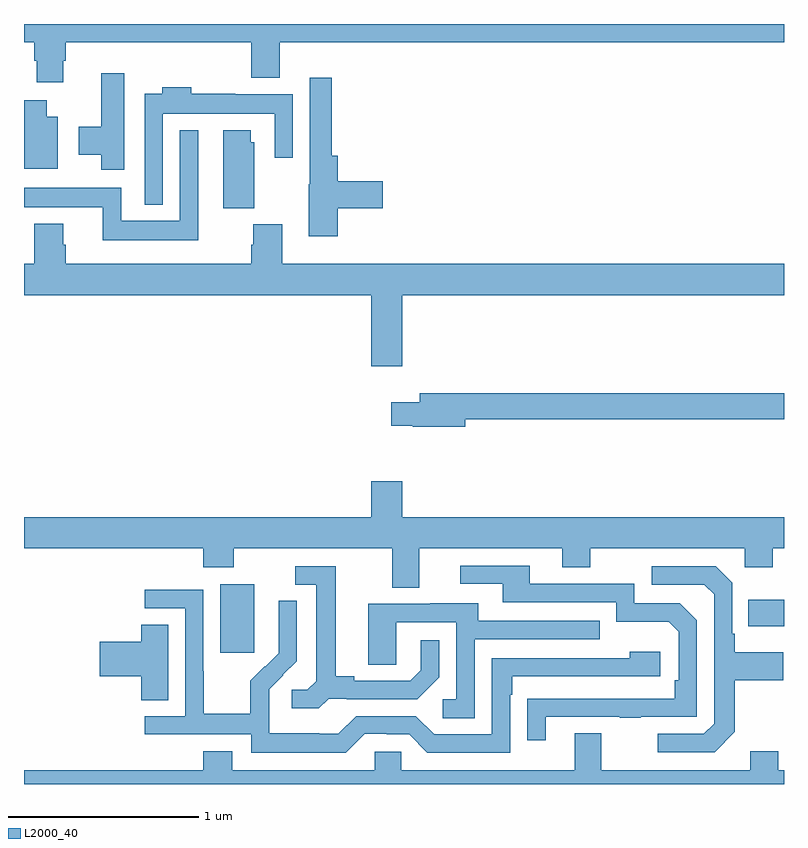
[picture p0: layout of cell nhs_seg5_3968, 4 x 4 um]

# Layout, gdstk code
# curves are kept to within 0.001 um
import gdstk
lib = gdstk.Library(unit=1e-6, precision=1e-09)
def R(c, l, rs):  # rectangles x0, y0, x1, y1
    for r in rs: c.add(gdstk.rectangle(r[:2], r[2:], *l))
def P(c, l, *ps):  # polygons
    for p in ps: c.add(gdstk.Polygon(p, *l))
L2000_40 = (2000, 40)

nhs_seg5_3968 = lib.new_cell('nhs_seg5_3968')
R(nhs_seg5_3968, L2000_40, [(344.033,909.489,344.212,909.85), (346.813,909.629,347,909.769)])
P(nhs_seg5_3968, L2000_40, [(343.207,912.606),(343.22,912.606),(343.22,912.704),(344.195,912.704),(344.195,912.515),(344.347,912.515),(344.347,912.704),(347,912.704),(347,912.799),(343,912.799),(343,912.704),(343.055,912.704),(343.055,912.606),(343.067,912.606),(343.067,912.492),(343.207,912.492)],
  [(343.528,912.541),(343.406,912.541),(343.406,912.258),(343.289,912.258),(343.289,912.11),(343.406,912.11),(343.406,912.033),(343.528,912.033)],
  [(344.651,911.83),(344.887,911.83),(344.887,911.972),(344.651,911.972),(344.651,912.106),(344.621,912.106),(344.621,912.517),(344.505,912.517),(344.505,911.955),(344.498,911.955),(344.498,911.682),(344.651,911.682)],
  [(343.731,912.326),(344.319,912.326),(344.319,912.096),(344.415,912.096),(344.415,912.43),(344.111,912.43),(344.111,912.433),(343.88,912.433),(343.88,912.466),(343.727,912.466),(343.727,912.433),(343.635,912.433),(343.635,911.849),(343.731,911.849)],
  [(343.177,912.31),(343.12,912.31),(343.12,912.397),(343,912.397),(343,912.038),(343.177,912.038)],
  [(344.212,912.177),(344.194,912.177),(344.194,912.241),(344.048,912.241),(344.048,911.83),(344.212,911.83)],
  [(343.918,912.241),(343.821,912.241),(343.821,911.764),(343.512,911.764),(343.512,911.938),(343,911.938),(343,911.834),(343.415,911.834),(343.415,911.66),(343.918,911.66)],
  [(344.992,911.372),(347,911.372),(347,911.536),(344.36,911.536),(344.36,911.745),(344.207,911.745),(344.207,911.636),(344.195,911.636),(344.195,911.536),(343.22,911.536),(343.22,911.637),(343.207,911.637),(343.207,911.749),(343.055,911.749),(343.055,911.536),(343,911.536),(343,911.372),(344.828,911.372),(344.828,910.998),(344.992,910.998)],
  [(345.322,910.72),(347,910.72),(347,910.856),(345.083,910.856),(345.083,910.807),(344.934,910.807),(344.934,910.685),(345.046,910.685),(345.046,910.678),(345.322,910.678)],
  [(345.079,910.04),(345.833,910.04),(345.833,909.941),(345.981,909.941),(345.981,910.04),(346.794,910.04),(346.794,909.941),(346.941,909.941),(346.941,910.04),(347,910.04),(347,910.204),(344.992,910.204),(344.992,910.393),(344.828,910.393),(344.828,910.204),(343,910.204),(343,910.04),(343.943,910.04),(343.943,909.941),(344.103,909.941),(344.103,910.04),(344.939,910.04),(344.939,909.832),(345.079,909.832)],
  [(345.745,909.153),(346.135,909.153),(346.135,909.148),(346.247,909.148),(346.247,909.153),(346.542,909.153),(346.542,909.66),(346.452,909.75),(346.212,909.75),(346.212,909.852),(345.661,909.852),(345.661,909.948),(345.297,909.948),(345.297,909.852),(345.521,909.852),(345.521,909.756),(346.116,909.756),(346.116,909.653),(346.393,909.653),(346.446,909.6),(346.446,909.346),(346.426,909.346),(346.426,909.249),(345.649,909.248),(345.649,909.03),(345.745,909.03)],
  [(344.604,909.249),(344.698,909.249),(344.698,909.246),(345.07,909.246),(345.186,909.362),(345.186,909.556),(345.089,909.556),(345.089,909.399),(345.032,909.342),(344.737,909.342),(344.737,909.365),(344.641,909.365),(344.641,909.945),(344.427,909.945),(344.427,909.849),(344.537,909.849),(344.537,909.341),(344.49,909.294),(344.409,909.294),(344.409,909.197),(344.552,909.197)],
  [(346.741,909.073),(346.741,909.346),(346.997,909.346),(346.997,909.493),(346.741,909.493),(346.741,909.589),(346.728,909.589),(346.728,909.858),(346.641,909.945),(346.305,909.945),(346.305,909.849),(346.581,909.849),(346.632,909.798),(346.632,909.117),(346.578,909.063),(346.335,909.063),(346.335,908.967),(346.635,908.967)],
  [(344.793,909.063),(344.909,909.063),(344.909,909.06),(345.027,909.06),(345.123,908.964),(345.558,908.964),(345.558,909.269),(345.571,909.269),(345.571,909.366),(346.348,909.366),(346.348,909.496),(346.187,909.496),(346.187,909.462),(345.462,909.462),(345.462,909.06),(345.159,909.06),(345.063,909.156),(344.748,909.156),(344.655,909.063),(344.555,909.063),(344.555,909.067),(344.292,909.067),(344.292,909.201),(344.29,909.201),(344.29,909.298),(344.436,909.446),(344.436,909.764),(344.34,909.764),(344.34,909.61),(344.342,909.61),(344.342,909.488),(344.271,909.417),(344.268,909.42),(344.191,909.343),(344.191,909.169),(343.947,909.169),(343.947,909.392),(343.944,909.392),(343.944,909.822),(343.635,909.822),(343.635,909.723),(343.848,909.723),(343.848,909.156),(343.635,909.156),(343.635,909.06),(344.196,909.06),(344.196,908.963),(344.693,908.963)],
  [(345.372,909.561),(346.031,909.561),(346.031,909.657),(345.391,909.657),(345.391,909.751),(345.137,909.751),(345.137,909.747),(344.813,909.747),(344.813,909.427),(344.958,909.427),(344.958,909.651),(345.276,909.651),(345.276,909.246),(345.204,909.246),(345.204,909.145),(345.372,909.145)],
  [(343.759,909.638),(343.616,909.638),(343.616,909.548),(343.398,909.548),(343.398,909.365),(343.616,909.365),(343.616,909.241),(343.759,909.241)],
  [(346.823,908.971),(346.823,908.872),(346.039,908.872),(346.039,909.067),(345.899,909.067),(345.899,908.872),(344.985,908.872),(344.985,908.97),(344.847,908.97),(344.847,908.872),(344.095,908.872),(344.095,908.971),(343.943,908.971),(343.943,908.872),(343,908.872),(343,908.799),(347,908.799),(347,908.872),(346.971,908.872),(346.971,908.971)])

lib.write_gds('nhs_seg5_3968.gds')
